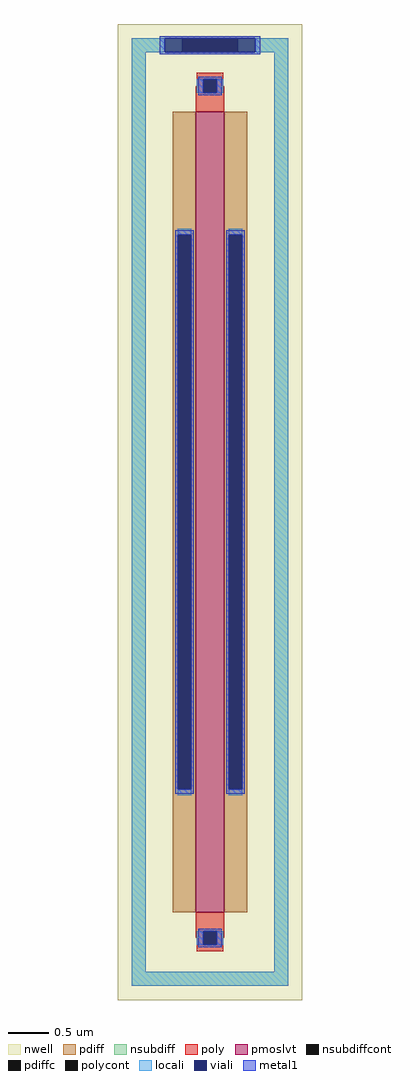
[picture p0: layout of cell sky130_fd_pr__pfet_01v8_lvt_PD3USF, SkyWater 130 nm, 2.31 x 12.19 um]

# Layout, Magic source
magic
tech sky130A
magscale 1 2
<< nwell >>
rect -231 -1219 231 1219
<< pmoslvt >>
rect -35 -1000 35 1000
<< pdiff >>
rect -93 692 -35 1000
rect -93 -692 -81 692
rect -47 -692 -35 692
rect -93 -1000 -35 -692
rect 35 692 93 1000
rect 35 -692 47 692
rect 81 -692 93 692
rect 35 -1000 93 -692
<< pdiffc >>
rect -81 -692 -47 692
rect 47 -692 81 692
<< nsubdiff >>
rect -195 1149 -69 1183
rect 69 1149 195 1183
rect -195 -1149 -161 1149
rect 161 -1149 195 1149
rect -195 -1183 195 -1149
<< nsubdiffcont >>
rect -69 1149 69 1183
<< poly >>
rect -33 1081 33 1097
rect -33 1064 -17 1081
rect -35 1047 -17 1064
rect 17 1064 33 1081
rect 17 1047 35 1064
rect -35 1000 35 1047
rect -35 -1047 35 -1000
rect -35 -1064 -17 -1047
rect -33 -1081 -17 -1064
rect 17 -1064 35 -1047
rect 17 -1081 33 -1064
rect -33 -1097 33 -1081
<< polycont >>
rect -17 1047 17 1081
rect -17 -1081 17 -1047
<< locali >>
rect -195 1149 -113 1183
rect 113 1149 195 1183
rect -195 -1149 -161 1149
rect -33 1047 -17 1081
rect 17 1047 33 1081
rect -81 692 -47 708
rect -81 -708 -47 -692
rect 47 692 81 708
rect 47 -708 81 -692
rect -33 -1081 -17 -1047
rect 17 -1081 33 -1047
rect 161 -1149 195 1149
rect -195 -1183 195 -1149
<< viali >>
rect -113 1149 -69 1183
rect -69 1149 69 1183
rect 69 1149 113 1183
rect -17 1047 17 1081
rect -81 -692 -47 692
rect 47 -692 81 692
rect -17 -1081 17 -1047
<< metal1 >>
rect -125 1183 125 1189
rect -125 1149 -113 1183
rect 113 1149 125 1183
rect -125 1143 125 1149
rect -29 1081 29 1087
rect -29 1047 -17 1081
rect 17 1047 29 1081
rect -29 1041 29 1047
rect -87 692 -41 704
rect -87 -692 -81 692
rect -47 -692 -41 692
rect -87 -704 -41 -692
rect 41 692 87 704
rect 41 -692 47 692
rect 81 -692 87 692
rect 41 -704 87 -692
rect -29 -1047 29 -1041
rect -29 -1081 -17 -1047
rect 17 -1081 29 -1047
rect -29 -1087 29 -1081
<< properties >>
string FIXED_BBOX -178 -1166 178 1166
string gencell sky130_fd_pr__pfet_01v8_lvt
string library sky130
string parameters w 10.0 l 0.35 m 1 nf 1 diffcov 70 polycov 70 guard 1 glc 0 grc 0 gtc 1 gbc 0 tbcov 70 rlcov 70 topc 1 botc 1 poverlap 0 doverlap 1 lmin 0.35 wmin 0.42 compatible {sky130_fd_pr__pfet_01v8  sky130_fd_pr__pfet_01v8_lvt sky130_fd_pr__pfet_01v8_hvt  sky130_fd_pr__pfet_g5v0d10v5} full_metal 1 viasrc 70 viadrn 70 viagate 70 viagb 0 viagr 0 viagl 0 viagt 70
<< end >>
